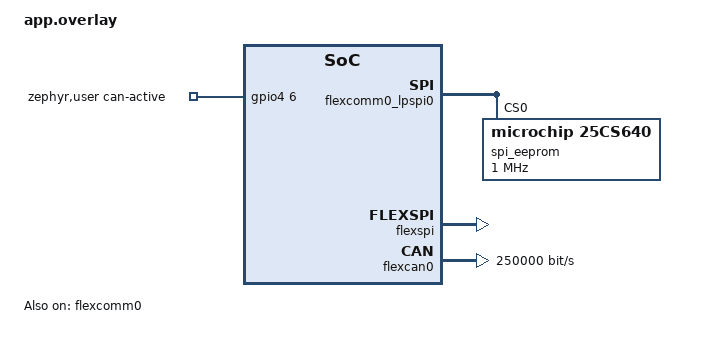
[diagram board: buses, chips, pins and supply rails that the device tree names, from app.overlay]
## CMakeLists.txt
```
cmake_minimum_required(VERSION 3.20.0)

find_package(Zephyr REQUIRED HINTS $ENV{ZEPHYR_BASE})
project(edison)

target_sources(app PRIVATE
    src/device_control.c
    src/eeprom.c
    src/main.c
    src/isotp_service.c
    src/ethernet.c
    src/pmi_update.c
    src/psram.c
    src/qspi_nor.c
    src/web_server.c
)

# The MCUX FlexSPI controller API is currently internal to Zephyr's memc
# driver. Keep this dependency local to the PSRAM module.
target_include_directories(app PRIVATE ${ZEPHYR_BASE}/drivers/memc)

zephyr_linker_sources(SECTIONS sections-rom.ld)
zephyr_linker_section(NAME http_resource_desc_edison_http_service
    KVMA RAM_REGION
    GROUP RODATA_REGION
)
```

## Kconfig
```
mainmenu "Edison application"

source "Kconfig.zephyr"

config APP_PSRAM
	bool "Edison FlexSPI Port B1 PSRAM"
	default y
	depends on MEMC
	select MEMC_MCUX_FLEXSPI
	help
	  Enable the application PSRAM driver and the underlying MCUX FlexSPI
	  memory-controller driver.
```

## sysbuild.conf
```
# Build the application together with MCUboot.
SB_CONFIG_BOOTLOADER_MCUBOOT=y
SB_CONFIG_MCUBOOT_MODE_OVERWRITE_ONLY=y
```

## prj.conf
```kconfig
CONFIG_GPIO=y
CONFIG_SPI=y
CONFIG_EEPROM=y
CONFIG_EEPROM_AT25=y

# Ethernet and IPv4
CONFIG_NETWORKING=y
CONFIG_NET_L2_ETHERNET=y
CONFIG_NET_IPV4=y
CONFIG_NET_IPV6=n
CONFIG_NET_ARP=y
CONFIG_NET_UDP=y
CONFIG_NET_TCP=y
CONFIG_NET_SOCKETS=y

# UDS diagnostics over ISO-TP on the Edison CAN0 interface.
CONFIG_CAN=y
CONFIG_CAN_SHELL=y
CONFIG_ISOTP=y
CONFIG_ISOTP_RX_BUF_COUNT=10
CONFIG_ISOTP_RX_BUF_SIZE=56
CONFIG_ISOTP_RX_SF_FF_BUF_COUNT=2

# Obtain the address, netmask, and gateway from the LAN.
CONFIG_NET_DHCPV4=y
CONFIG_NET_MGMT=y
CONFIG_NET_MGMT_EVENT=y

# UART network shell, including the `net ping` command.
CONFIG_SHELL=y
CONFIG_NET_SHELL=y
CONFIG_REBOOT=y

# FlexSPI Port B1 PSRAM and its UART shell test commands.
CONFIG_MEMC=y

# Stage network firmware uploads in PSRAM, then write MCUboot slot 1.
CONFIG_STREAM_FLASH=y
CONFIG_FLASH=y
CONFIG_FLASH_MAP=y
CONFIG_FLASH_JESD216_API=y
CONFIG_IMG_MANAGER=y
CONFIG_MCUBOOT_IMG_MANAGER=y
CONFIG_IMG_ERASE_PROGRESSIVELY=y
CONFIG_CRC=y

CONFIG_LOG=y
CONFIG_NET_LOG=y

# HTTP server with one concurrent client.
CONFIG_HTTP_PARSER=y
CONFIG_HTTP_SERVER=y
CONFIG_HTTP_SERVER_MAX_CLIENTS=1

# Required by DHCP, ICMP ping, and the board's random MAC address. This timer
# generator is suitable for connectivity testing, not cryptographic use.
CONFIG_TEST_RANDOM_GENERATOR=y
```

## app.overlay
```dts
/*
 * The Edison hardware connects its 8 MiB PSRAM to FlexSPI0 Port B1:
 * PIO2_2 is CS, PIO2_3 is CLK, and PIO2_4..7 are DATA0..3.
 */
/ {
	zephyr,user {
		can-active-gpios = <&gpio4 6 GPIO_ACTIVE_HIGH>;
	};
};

&pinctrl {
	pinmux_flexcomm0_lpspi: pinmux_flexcomm0_lpspi {
		group0 {
			pinmux = <FC0_P0_PIO0_16>,
				 <FC0_P1_PIO0_17>,
				 <FC0_P2_PIO0_18>,
				 <FC0_P3_PIO0_19>;
			input-enable;
			slew-rate = "fast";
			drive-strength = "low";
		};
	};

	pinmux_edison_flexcan0: pinmux_edison_flexcan0 {
		group0 {
			pinmux = <CAN0_TXD_PIO1_10>,
				 <CAN0_RXD_PIO1_11>;
			input-enable;
			slew-rate = "fast";
			drive-strength = "low";
		};
	};

	pinmux_flexspi_flash_psram: pinmux_flexspi_flash_psram {
		group0 {
			pinmux = <FLEXSPI0_A_SS0_b_PIO3_0>,
				 <FLEXSPI0_A_SCLK_PIO3_7>,
				 <FLEXSPI0_A_DATA0_PIO3_8>,
				 <FLEXSPI0_A_DATA1_PIO3_9>,
				 <FLEXSPI0_B_SS0_b_PIO2_2>,
				 <FLEXSPI0_B_SCLK_PIO2_3>,
				 <FLEXSPI0_B_DATA0_PIO2_4>,
				 <FLEXSPI0_B_DATA1_PIO2_5>;
			input-enable;
			slew-rate = "fast";
			drive-strength = "low";
		};

		group1 {
			pinmux = <FLEXSPI0_A_DATA2_PIO3_10>,
				 <FLEXSPI0_A_DATA3_PIO3_11>,
				 <FLEXSPI0_B_DATA2_PIO2_6>,
				 <FLEXSPI0_B_DATA3_PIO2_7>;
			input-enable;
			slew-rate = "fast";
			drive-strength = "low";
			bias-pull-up;
		};
	};
};

&flexcomm0 {
	status = "okay";
};

&flexcomm0_lpspi0 {
	status = "okay";
	pinctrl-0 = <&pinmux_flexcomm0_lpspi>;
	pinctrl-names = "default";

	spi_eeprom: eeprom@0 {
		compatible = "microchip,25cs640", "atmel,at25";
		reg = <0>;
		size = <8192>;
		pagesize = <32>;
		address-width = <16>;
		spi-max-frequency = <1000000>;
		timeout = <10>;
	};
};

&flexspi {
	status = "okay";
	pinctrl-0 = <&pinmux_flexspi_flash_psram>;
	pinctrl-names = "default";
};

&flexcan0 {
	status = "okay";
	pinctrl-0 = <&pinmux_edison_flexcan0>;
	pinctrl-names = "default";
	bitrate = <250000>;
};

/*
 * The Edison PMI uses a KSZ8081 PHY. PIO0_23 drives an inverting NMOS reset
 * circuit, so a low GPIO level releases the active-low PHYRST_B signal.
 */
&phy {
	compatible = "microchip,ksz8081";
	microchip,interface-type = "rmii";
	reset-gpios = <&gpio0 23 GPIO_ACTIVE_LOW>;
};
```

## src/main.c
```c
/*
 * SPDX-License-Identifier: Apache-2.0
 */

#include <zephyr/kernel.h>
#include <zephyr/app_version.h>
#include <zephyr/logging/log.h>
#include <zephyr/sys/printk.h>

#include "device_control.h"
#include "eeprom.h"
#include "ethernet.h"
#include "isotp_service.h"
#include "pmi_update.h"
#include "psram.h"
#include "qspi_nor.h"
#include "web_server.h"

#define SLEEP_TIME_MS 500

LOG_MODULE_REGISTER(app, LOG_LEVEL_INF);

int main(void)
{
	LOG_INF("Application version: %s", APP_VERSION_STRING);

	device_control_service_init();
	eeprom_service_init();
	psram_service_init();
	qspi_nor_service_init();
	isotp_service_init();
	pmi_update_service_init();
	ethernet_service_init();
	web_server_service_init();

	while (1) {
		k_msleep(SLEEP_TIME_MS);
	}

	return 0;
}
```

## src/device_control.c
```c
/* SPDX-License-Identifier: Apache-2.0 */

#include "device_control.h"

#include <zephyr/kernel.h>
#include <zephyr/net/http/server.h>
#include <zephyr/net/http/service.h>
#include <zephyr/shell/shell.h>
#include <zephyr/sys/reboot.h>
#include <zephyr/sys/util.h>

#define REBOOT_DELAY K_MSEC(500)

static struct k_work_delayable reboot_work;

static void reboot_work_handler(struct k_work *work)
{
	ARG_UNUSED(work);

	sys_reboot(SYS_REBOOT_COLD);
}

static void schedule_reboot(void)
{
	k_work_reschedule(&reboot_work, REBOOT_DELAY);
}

static int cmd_device_reboot(const struct shell *sh, size_t argc, char **argv)
{
	ARG_UNUSED(argc);
	ARG_UNUSED(argv);

	shell_print(sh, "Cold reboot scheduled in 500 ms");
	schedule_reboot();
	return 0;
}

SHELL_STATIC_SUBCMD_SET_CREATE(pmi_commands,
	SHELL_CMD(reboot, NULL, "Schedule a cold device reboot.",
		  cmd_device_reboot),
	SHELL_SUBCMD_SET_END
);
SHELL_CMD_REGISTER(pmi, &pmi_commands, "PMI device-control commands.", NULL);

static int reboot_post_handler(struct http_client_ctx *client,
			       enum http_data_status status,
			       const struct http_request_ctx *request,
			       struct http_response_ctx *response, void *user_data)
{
	static const char body[] =
		"{\"status\":\"ok\",\"action\":\"reboot\",\"delay_ms\":500}\n";

	ARG_UNUSED(client);
	ARG_UNUSED(request);
	ARG_UNUSED(user_data);

	if (status == HTTP_SERVER_DATA_ABORTED) {
		return 0;
	}
	if (status != HTTP_SERVER_DATA_FINAL) {
		return 0;
	}

	response->status = HTTP_200_OK;
	response->body = body;
	response->body_len = sizeof(body) - 1U;
	response->final_chunk = true;
	schedule_reboot();

	return 0;
}

static struct http_resource_detail_dynamic reboot_resource_detail = {
	.common = {
		.type = HTTP_RESOURCE_TYPE_DYNAMIC,
		.bitmask_of_supported_http_methods = BIT(HTTP_POST),
		.content_type = "application/json",
	},
	.cb = reboot_post_handler,
};

HTTP_RESOURCE_DEFINE(reboot_resource, edison_http_service, "/pmi/reboot",
		     &reboot_resource_detail);

void device_control_service_init(void)
{
	k_work_init_delayable(&reboot_work, reboot_work_handler);
}
```

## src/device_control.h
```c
/* SPDX-License-Identifier: Apache-2.0 */

#ifndef EDISON_DEVICE_CONTROL_H_
#define EDISON_DEVICE_CONTROL_H_

/** Initialize delayed device-control operations. */
void device_control_service_init(void);

#endif /* EDISON_DEVICE_CONTROL_H_ */
```

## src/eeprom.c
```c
/* SPDX-License-Identifier: Apache-2.0 */

#include "eeprom.h"

#include <errno.h>
#include <stdlib.h>
#include <string.h>

#include <zephyr/device.h>
#include <zephyr/devicetree.h>
#include <zephyr/drivers/spi.h>
#include <zephyr/kernel.h>
#include <zephyr/logging/log.h>
#include <zephyr/shell/shell.h>

LOG_MODULE_REGISTER(spi_eeprom, LOG_LEVEL_INF);

#define EEPROM_NODE DT_NODELABEL(spi_eeprom)
#define EEPROM_DEVICE DEVICE_DT_GET(EEPROM_NODE)
#define EEPROM_SIZE 8192U
#define EEPROM_PAGE_SIZE 32U
#define EEPROM_TEST_OFFSET 0x1000U
#define EEPROM_READ_ID 0x9fU
#define EEPROM_READ 0x03U
#define EEPROM_WRITE 0x02U
#define EEPROM_WRITE_ENABLE 0x06U
#define EEPROM_READ_STATUS 0x05U
#define EEPROM_STATUS_WIP BIT(0)
#define EEPROM_WRITE_TIMEOUT_MS 10U

static const struct spi_dt_spec eeprom_spi =
	SPI_DT_SPEC_GET(EEPROM_NODE, SPI_WORD_SET(8));
static uint8_t eeprom_id[3];
static bool eeprom_ready;

/*
 * Always provide an RX buffer, including for commands that only transmit.
 * The interrupt-driven NXP LPSPI driver stops draining its RX FIFO for a
 * TX-only transfer. A page write is longer than that FIFO and otherwise
 * stalls with -ETIMEDOUT.
 */
static int eeprom_transceive(uint8_t *tx, uint8_t *rx, size_t length)
{
	const struct spi_buf tx_buf = {.buf = tx, .len = length};
	const struct spi_buf rx_buf = {.buf = rx, .len = length};
	const struct spi_buf_set tx_set = {.buffers = &tx_buf, .count = 1};
	const struct spi_buf_set rx_set = {.buffers = &rx_buf, .count = 1};

	return spi_transceive_dt(&eeprom_spi, &tx_set, &rx_set);
}

static int parse_u32(const char *text, uint32_t *value)
{
	char *end;
	unsigned long parsed = strtoul(text, &end, 0);

	if (*text == '\0' || *end != '\0' || parsed > UINT32_MAX) {
		return -EINVAL;
	}
	*value = (uint32_t)parsed;
	return 0;
}

static int read_id(void)
{
	uint8_t tx[4] = {EEPROM_READ_ID, 0, 0, 0};
	uint8_t rx[4] = {0};
	int ret = eeprom_transceive(tx, rx, sizeof(tx));

	if (ret == 0) {
		memcpy(eeprom_id, &rx[1], sizeof(eeprom_id));
	}
	return ret;
}

static int read_status(uint8_t *status)
{
	uint8_t tx[2] = {EEPROM_READ_STATUS, 0};
	uint8_t rx[2] = {0};
	int ret = eeprom_transceive(tx, rx, sizeof(tx));

	if (ret == 0) {
		*status = rx[1];
	}
	return ret;
}

static int wait_until_ready(void)
{
	int64_t deadline = k_uptime_get() + EEPROM_WRITE_TIMEOUT_MS;
	uint8_t status;
	int ret;

	do {
		ret = read_status(&status);
		if (ret != 0 || (status & EEPROM_STATUS_WIP) == 0U) {
			return ret;
		}
		k_msleep(1);
	} while (k_uptime_get() < deadline);

	return -ETIMEDOUT;
}

static int read_data(uint32_t offset, uint8_t *data, size_t length)
{
	uint8_t tx[EEPROM_PAGE_SIZE + 3] = {
		EEPROM_READ, (uint8_t)(offset >> 8), (uint8_t)offset
	};
	uint8_t rx[sizeof(tx)] = {0};
	int ret = eeprom_transceive(tx, rx, length + 3U);

	if (ret == 0) {
		memcpy(data, &rx[3], length);
	}
	return ret;
}

static int write_page(uint32_t offset, const uint8_t *data, size_t length)
{
	uint8_t enable_tx[1] = {EEPROM_WRITE_ENABLE};
	uint8_t enable_rx[1] = {0};
	uint8_t tx[EEPROM_PAGE_SIZE + 3] = {
		EEPROM_WRITE, (uint8_t)(offset >> 8), (uint8_t)offset
	};
	uint8_t rx[sizeof(tx)] = {0};
	int ret;

	ret = eeprom_transceive(enable_tx, enable_rx, sizeof(enable_tx));
	if (ret != 0) {
		return ret;
	}

	memcpy(&tx[3], data, length);
	ret = eeprom_transceive(tx, rx, length + 3U);
	if (ret != 0) {
		return ret;
	}

	return wait_until_ready();
}

static int cmd_eeprom_info(const struct shell *sh, size_t argc, char **argv)
{
	ARG_UNUSED(argc);
	ARG_UNUSED(argv);

	shell_print(sh, "SPI EEPROM: %s", eeprom_ready ? "ready" : "not ready");
	shell_print(sh, "Size: %u bytes, page: %u bytes, bus: LPSPI0 at 1 MHz",
		    EEPROM_SIZE, EEPROM_PAGE_SIZE);
	shell_print(sh, "ID: %02x %02x %02x", eeprom_id[0], eeprom_id[1],
		    eeprom_id[2]);
	return eeprom_ready ? 0 : -ENODEV;
}

static int cmd_eeprom_read(const struct shell *sh, size_t argc, char **argv)
{
	uint8_t buffer[EEPROM_PAGE_SIZE];
	uint32_t offset;
	uint32_t length = EEPROM_PAGE_SIZE;
	int ret;

	if (!eeprom_ready) {
		return -ENODEV;
	}
	if (parse_u32(argv[1], &offset) != 0 ||
	    (argc > 2 && parse_u32(argv[2], &length) != 0) ||
	    length == 0U || length > sizeof(buffer) || offset >= EEPROM_SIZE ||
	    length > EEPROM_SIZE - offset) {
		shell_error(sh, "range must fit in EEPROM; maximum length is 32");
		return -EINVAL;
	}

	ret = read_data(offset, buffer, length);
	if (ret == 0) {
		shell_hexdump(sh, buffer, length);
	}
	return ret;
}

static int cmd_eeprom_test(const struct shell *sh, size_t argc, char **argv)
{
	uint8_t write_buffer[EEPROM_PAGE_SIZE];
	uint8_t read_buffer[EEPROM_PAGE_SIZE];
	uint32_t pattern = 0xa5U;
	uint32_t offset = EEPROM_TEST_OFFSET;
	int ret;

	if (!eeprom_ready) {
		return -ENODEV;
	}
	if ((argc > 1 && parse_u32(argv[1], &pattern) != 0) || pattern > UINT8_MAX ||
	    (argc > 2 && parse_u32(argv[2], &offset) != 0) ||
	    offset % EEPROM_PAGE_SIZE != 0U || offset > EEPROM_SIZE - EEPROM_PAGE_SIZE) {
		shell_error(sh, "offset must be a 32-byte page within the 8 KiB EEPROM");
		return -EINVAL;
	}

	shell_warn(sh, "destructive test: overwriting page at 0x%04x", offset);
	memset(write_buffer, (uint8_t)pattern, sizeof(write_buffer));
	memset(read_buffer, 0, sizeof(read_buffer));
	ret = write_page(offset, write_buffer, sizeof(write_buffer));
	if (ret == 0) {
		ret = read_data(offset, read_buffer, sizeof(read_buffer));
	}
	if (ret == 0 && memcmp(write_buffer, read_buffer, sizeof(write_buffer)) != 0) {
		ret = -EIO;
	}

	if (ret == 0) {
		shell_print(sh, "PASS: verified 32 bytes at 0x%04x", offset);
	} else {
		shell_error(sh, "FAIL: EEPROM test returned %d", ret);
	}
	return ret;
}

SHELL_STATIC_SUBCMD_SET_CREATE(eeprom_commands,
	SHELL_CMD(info, NULL, "Show SPI EEPROM state and ID.", cmd_eeprom_info),
	SHELL_CMD_ARG(read, NULL, "Read <offset> [length=32], maximum 32 bytes.",
		      cmd_eeprom_read, 2, 1),
	SHELL_CMD_ARG(test, NULL, "Destructive test [pattern=0xa5] [page=0x1000].",
		      cmd_eeprom_test, 1, 2),
	SHELL_SUBCMD_SET_END
);
SHELL_CMD_REGISTER(eeprom, &eeprom_commands, "SPI EEPROM commands.", NULL);

void eeprom_service_init(void)
{
	int ret;

	if (!device_is_ready(EEPROM_DEVICE) || !spi_is_ready_dt(&eeprom_spi)) {
		LOG_ERR("SPI EEPROM is not ready");
		return;
	}

	ret = read_id();
	if (ret != 0) {
		LOG_ERR("Could not read SPI EEPROM ID (%d)", ret);
		return;
	}

	eeprom_ready = true;
	LOG_INF("SPI EEPROM ready: 8 KiB on LPSPI0, ID %02x %02x %02x",
		eeprom_id[0], eeprom_id[1], eeprom_id[2]);
}
```

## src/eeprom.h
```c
/* SPDX-License-Identifier: Apache-2.0 */

#ifndef EDISON_EEPROM_H_
#define EDISON_EEPROM_H_

/** Initialize the external SPI EEPROM service. */
void eeprom_service_init(void);

#endif /* EDISON_EEPROM_H_ */
```

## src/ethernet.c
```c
/*
 * SPDX-License-Identifier: Apache-2.0
 */

#include "ethernet.h"

#include <zephyr/kernel.h>
#include <zephyr/net/net_if.h>
#include <zephyr/net/dhcpv4.h>
#include <zephyr/net/net_ip.h>
#include <zephyr/net/net_mgmt.h>
#include <zephyr/sys/printk.h>

static struct net_mgmt_event_callback net_mgmt_cb;

static void ipv4_addr_added(struct net_mgmt_event_callback *cb,
			    uint64_t event, struct net_if *iface)
{
	char address[NET_IPV4_ADDR_LEN];
	char netmask[NET_IPV4_ADDR_LEN];
	char gateway[NET_IPV4_ADDR_LEN];
	const struct net_if_ipv4 *ipv4 = iface->config.ip.ipv4;

	ARG_UNUSED(cb);

	if (event != NET_EVENT_IPV4_ADDR_ADD || ipv4 == NULL) {
		return;
	}

	for (int i = 0; i < NET_IF_MAX_IPV4_ADDR; i++) {
		const struct net_if_addr_ipv4 *if_addr = &ipv4->unicast[i];

		if (!if_addr->ipv4.is_used ||
		    if_addr->ipv4.addr_type != NET_ADDR_DHCP) {
			continue;
		}

		net_addr_ntop(AF_INET, &if_addr->ipv4.address.in_addr,
			      address, sizeof(address));
		net_addr_ntop(AF_INET, &if_addr->netmask,
			      netmask, sizeof(netmask));
		net_addr_ntop(AF_INET, &ipv4->gw, gateway, sizeof(gateway));

		printk("Ethernet ready: interface %d\n", net_if_get_by_iface(iface));
		printk("  IPv4 address: %s\n", address);
		printk("  Netmask:      %s\n", netmask);
		printk("  Gateway:      %s\n", gateway);
		printk("Test with: net ping -c 4 %s\n", gateway);
		return;
	}
}

static void start_dhcp(struct net_if *iface, void *user_data)
{
	ARG_UNUSED(user_data);

	printk("Starting DHCPv4 on interface %d (%s)\n",
	       net_if_get_by_iface(iface), net_if_get_device(iface)->name);
	net_dhcpv4_start(iface);
}

void ethernet_service_init(void)
{
	net_mgmt_init_event_callback(&net_mgmt_cb, ipv4_addr_added,
				     NET_EVENT_IPV4_ADDR_ADD);
	net_mgmt_add_event_callback(&net_mgmt_cb);
	net_if_foreach(start_dhcp, NULL);
}
```

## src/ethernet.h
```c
/*
 * SPDX-License-Identifier: Apache-2.0
 */

#ifndef EDISON_ETHERNET_H_
#define EDISON_ETHERNET_H_

/** Start DHCPv4 and register Ethernet network event handling. */
void ethernet_service_init(void);

#endif /* EDISON_ETHERNET_H_ */
```

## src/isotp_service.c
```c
/* SPDX-License-Identifier: Apache-2.0 */

#include "isotp_service.h"

#include <ctype.h>
#include <errno.h>
#include <inttypes.h>
#include <stdio.h>
#include <stdlib.h>
#include <string.h>

#include <zephyr/canbus/isotp.h>
#include <zephyr/device.h>
#include <zephyr/devicetree.h>
#include <zephyr/drivers/can.h>
#include <zephyr/drivers/gpio.h>
#include <zephyr/kernel.h>
#include <zephyr/logging/log.h>
#include <zephyr/net/http/server.h>
#include <zephyr/net/http/service.h>
#include <zephyr/shell/shell.h>
#include <zephyr/sys/util.h>

LOG_MODULE_REGISTER(isotp_service, LOG_LEVEL_INF);

#define ISOTP_DATA_MAX 512U
#define ISOTP_HTTP_BODY_MAX 1800U
#define ISOTP_HTTP_RESPONSE_MAX 3200U
#define ISOTP_DEFAULT_TIMEOUT_MS 5000U

static const struct device *const can_dev = DEVICE_DT_GET(DT_CHOSEN(zephyr_canbus));
static const struct gpio_dt_spec can_active =
	GPIO_DT_SPEC_GET(DT_PATH(zephyr_user), can_active_gpios);
static bool service_ready;
K_MUTEX_DEFINE(transaction_lock);
K_SEM_DEFINE(raw_rx_sem, 0, 1);
static uint8_t raw_rx_data[CAN_MAX_DLEN];
static size_t raw_rx_len;

static int parse_u32(const char *text, uint32_t *value)
{
	char *end;
	unsigned long parsed = strtoul(text, &end, 0);

	if (*text == '\0' || *end != '\0' || parsed > UINT32_MAX) {
		return -EINVAL;
	}
	*value = (uint32_t)parsed;
	return 0;
}

static int hex_nibble(char value)
{
	if (value >= '0' && value <= '9') {
		return value - '0';
	}
	value = (char)tolower((unsigned char)value);
	if (value >= 'a' && value <= 'f') {
		return value - 'a' + 10;
	}
	return -EINVAL;
}

static int parse_payload(const char *text, uint8_t *data, size_t capacity,
			 size_t *data_len)
{
	int high = -1;
	size_t length = 0;

	for (; *text != '\0'; text++) {
		int nibble;

		if (isspace((unsigned char)*text) || *text == ':' || *text == '-') {
			continue;
		}
		nibble = hex_nibble(*text);
		if (nibble < 0) {
			return -EINVAL;
		}
		if (high < 0) {
			high = nibble;
			continue;
		}
		if (length >= capacity) {
			return -E2BIG;
		}
		data[length++] = (uint8_t)((high << 4) | nibble);
		high = -1;
	}

	if (high >= 0 || length == 0U) {
		return -EINVAL;
	}
	*data_len = length;
	return 0;
}

static void strip_single_frame_pci(uint8_t *data, size_t *length)
{
	if (*length > 1U && (data[0] & 0xf0U) == 0U &&
	    (data[0] & 0x0fU) == *length - 1U) {
		*length -= 1U;
		memmove(data, data + 1U, *length);
	}
}

static struct isotp_msg_id make_address(uint32_t id)
{
	struct isotp_msg_id address = {.dl = CAN_MAX_DLEN};

	if (id > CAN_STD_ID_MASK) {
		address.ext_id = id;
		address.flags = ISOTP_MSG_IDE;
	} else {
		address.std_id = id;
	}
	return address;
}

static void raw_rx_callback(const struct device *dev, struct can_frame *frame,
			    void *user_data)
{
	ARG_UNUSED(dev);
	ARG_UNUSED(user_data);

	raw_rx_len = MIN(can_dlc_to_bytes(frame->dlc), sizeof(raw_rx_data));
	memcpy(raw_rx_data, frame->data, raw_rx_len);
	k_sem_give(&raw_rx_sem);
}

static int raw_can_loop(uint32_t can_id, const uint8_t *tx_data,
			uint8_t *rx_data, uint32_t timeout_ms)
{
	struct can_filter filter = {
		.id = can_id,
		.mask = can_id > CAN_STD_ID_MASK ? CAN_EXT_ID_MASK : CAN_STD_ID_MASK,
	};
	struct can_frame frame = {
		.id = can_id,
		.dlc = can_bytes_to_dlc(8U),
	};
	int filter_id;
	int ret;

	if (!service_ready) {
		return -ENODEV;
	}
	if (can_id > CAN_EXT_ID_MASK || timeout_ms == 0U) {
		return -EINVAL;
	}
	if (can_id > CAN_STD_ID_MASK) {
		filter.flags = CAN_FILTER_IDE;
		frame.flags = CAN_FRAME_IDE;
	}
	memcpy(frame.data, tx_data, 8U);

	k_mutex_lock(&transaction_lock, K_FOREVER);
	raw_rx_len = 0;
	k_sem_reset(&raw_rx_sem);
	filter_id = can_add_rx_filter(can_dev, raw_rx_callback, NULL, &filter);
	if (filter_id < 0) {
		ret = filter_id;
		goto out;
	}

	ret = can_send(can_dev, &frame, K_MSEC(timeout_ms), NULL, NULL);
	if (ret == 0) {
		ret = k_sem_take(&raw_rx_sem, K_MSEC(timeout_ms));
	}
	can_remove_rx_filter(can_dev, filter_id);
	if (ret == 0) {
		memcpy(rx_data, raw_rx_data, raw_rx_len);
		if (raw_rx_len != 8U || memcmp(tx_data, raw_rx_data, 8U) != 0) {
			ret = -EIO;
		}
	}

out:
	k_mutex_unlock(&transaction_lock);
	return ret;
}

static int isotp_request(uint32_t tx_id, uint32_t rx_id,
			 const uint8_t *request, size_t request_len,
			 uint8_t *response, size_t response_size,
			 uint32_t timeout_ms)
{
	static struct isotp_recv_ctx recv_ctx;
	static struct isotp_send_ctx send_ctx;
	const struct isotp_fc_opts fc_opts = {.bs = 0, .stmin = 0};
	struct isotp_msg_id tx_addr;
	struct isotp_msg_id rx_addr;
	int ret;

	if (!service_ready) {
		return -ENODEV;
	}
	if (tx_id > CAN_EXT_ID_MASK || rx_id > CAN_EXT_ID_MASK || tx_id == rx_id ||
	    request_len == 0U || request_len > ISOTP_DATA_MAX) {
		return -EINVAL;
	}

	tx_addr = make_address(tx_id);
	rx_addr = make_address(rx_id);

	k_mutex_lock(&transaction_lock, K_FOREVER);
	memset(&recv_ctx, 0, sizeof(recv_ctx));
	memset(&send_ctx, 0, sizeof(send_ctx));
	ret = isotp_bind(&recv_ctx, can_dev, &rx_addr, &tx_addr, &fc_opts,
			 K_MSEC(timeout_ms));
	if (ret == ISOTP_N_OK) {
		ret = isotp_send(&send_ctx, can_dev, request, request_len,
				 &tx_addr, &rx_addr, NULL, NULL);
		if (ret == ISOTP_N_OK) {
			ret = isotp_recv(&recv_ctx, response, response_size,
					 K_MSEC(timeout_ms));
		}
		isotp_unbind(&recv_ctx);
	}
	k_mutex_unlock(&transaction_lock);

	return ret;
}

static void print_hex(const struct shell *sh, const char *label,
		      const uint8_t *data, size_t length)
{
	shell_fprintf(sh, SHELL_NORMAL, "%s", label);
	for (size_t i = 0; i < length; i++) {
		shell_fprintf(sh, SHELL_NORMAL, "%02X%s", data[i],
			      i + 1U == length ? "\n" : " ");
	}
}

static int cmd_isotp_info(const struct shell *sh, size_t argc, char **argv)
{
	ARG_UNUSED(argc);
	ARG_UNUSED(argv);

	shell_print(sh, "ISO-TP: %s", service_ready ? "ready" : "not ready");
	shell_print(sh, "CAN0: PIO1_10 TX, PIO1_11 RX, 250 kbit/s");
	return service_ready ? 0 : -ENODEV;
}

static int cmd_isotp_test(const struct shell *sh, size_t argc, char **argv)
{
	static uint8_t request[ISOTP_DATA_MAX];
	static uint8_t response[ISOTP_DATA_MAX];
	uint32_t tx_id;
	uint32_t rx_id;
	uint32_t timeout_ms = ISOTP_DEFAULT_TIMEOUT_MS;
	size_t request_len;
	int ret;

	if (parse_u32(argv[1], &tx_id) != 0 || parse_u32(argv[2], &rx_id) != 0 ||
	    parse_payload(argv[3], request, sizeof(request), &request_len) != 0 ||
	    (argc > 4 && parse_u32(argv[4], &timeout_ms) != 0) || timeout_ms == 0U) {
		shell_error(sh, "invalid CAN ID, hex payload, or timeout");
		return -EINVAL;
	}
	strip_single_frame_pci(request, &request_len);

	print_hex(sh, "TX: ", request, request_len);
	ret = isotp_request(tx_id, rx_id, request, request_len, response,
			    sizeof(response), timeout_ms);
	if (ret < 0) {
		shell_error(sh, "ISO-TP request failed (%d)", ret);
		return ret;
	}
	print_hex(sh, "RX: ", response, (size_t)ret);
	shell_print(sh, "PASS: received %d-byte UDS response", ret);
	return 0;
}

static int cmd_can_loop_test(const struct shell *sh, size_t argc, char **argv)
{
	uint8_t tx_data[8];
	uint8_t rx_data[8];
	uint32_t can_id;
	uint32_t timeout_ms = ISOTP_DEFAULT_TIMEOUT_MS;
	size_t tx_len;
	int ret;

	if (parse_u32(argv[1], &can_id) != 0 ||
	    parse_payload(argv[2], tx_data, sizeof(tx_data), &tx_len) != 0 ||
	    tx_len != sizeof(tx_data) ||
	    (argc > 3 && parse_u32(argv[3], &timeout_ms) != 0) || timeout_ms == 0U) {
		shell_error(sh, "provide a CAN ID and exactly 8 data bytes");
		return -EINVAL;
	}

	print_hex(sh, "TX: ", tx_data, sizeof(tx_data));
	ret = raw_can_loop(can_id, tx_data, rx_data, timeout_ms);
	if (ret != 0) {
		shell_error(sh, "raw CAN loop test failed (%d)", ret);
		return ret;
	}
	print_hex(sh, "RX: ", rx_data, sizeof(rx_data));
	shell_print(sh, "PASS: raw CAN frame matched");
	return 0;
}

SHELL_STATIC_SUBCMD_SET_CREATE(isotp_commands,
	SHELL_CMD(info, NULL, "Show ISO-TP and CAN state.", cmd_isotp_info),
	SHELL_CMD_ARG(test, NULL,
		      "Send <tx_id> <rx_id> <hex_payload> [timeout_ms=5000].",
		      cmd_isotp_test, 4, 1),
	SHELL_SUBCMD_SET_END
);
SHELL_CMD_REGISTER(isotp, &isotp_commands, "ISO-TP UDS test commands.", NULL);

SHELL_STATIC_SUBCMD_SET_CREATE(canloop_commands,
	SHELL_CMD_ARG(test, NULL,
		      "Send and verify <can_id> <8-byte_hex_payload> [timeout_ms=5000].",
		      cmd_can_loop_test, 3, 1),
	SHELL_SUBCMD_SET_END
);
SHELL_CMD_REGISTER(canloop, &canloop_commands, "Raw CAN loop test commands.", NULL);

static int url_decode(char *text)
{
	char *read = text;
	char *write = text;

	while (*read != '\0') {
		if (*read == '+') {
			*write++ = ' ';
			read++;
		} else if (*read == '%' && isxdigit((unsigned char)read[1]) &&
			   isxdigit((unsigned char)read[2])) {
			int high = hex_nibble(read[1]);
			int low = hex_nibble(read[2]);

			*write++ = (char)((high << 4) | low);
			read += 3;
		} else {
			*write++ = *read++;
		}
	}
	*write = '\0';
	return 0;
}

static int form_value(const char *body, const char *name, char *value,
		      size_t value_size)
{
	size_t name_len = strlen(name);
	const char *field = body;

	while (*field != '\0') {
		const char *next = strchr(field, '&');
		size_t field_len = next == NULL ? strlen(field) : (size_t)(next - field);

		if (field_len > name_len && strncmp(field, name, name_len) == 0 &&
		    field[name_len] == '=') {
			size_t length = field_len - name_len - 1U;

			if (length >= value_size) {
				return -ENOSPC;
			}
			memcpy(value, field + name_len + 1U, length);
			value[length] = '\0';
			url_decode(value);
			return 0;
		}
		if (next == NULL) {
			break;
		}
		field = next + 1U;
	}
	return -ENOENT;
}

static int json_response(char *buffer, size_t capacity, enum http_status *status,
			 uint32_t tx_id, uint32_t rx_id, const uint8_t *tx,
			 size_t tx_len, const uint8_t *rx, int rx_len)
{
	size_t offset = 0;
	int length;

	length = snprintf(buffer, capacity,
			  "{\"status\":\"%s\",\"tx_id\":\"0x%" PRIX32
			  "\",\"rx_id\":\"0x%" PRIX32 "\",\"tx\":\"",
			  rx_len >= 0 ? "pass" : "fail", tx_id, rx_id);
	if (length < 0 || (size_t)length >= capacity) {
		return -ENOSPC;
	}
	offset = (size_t)length;
	for (size_t i = 0; i < tx_len && offset + 3U < capacity; i++) {
		offset += (size_t)snprintf(buffer + offset, capacity - offset,
					   "%02X%s", tx[i], i + 1U == tx_len ? "" : " ");
	}
	offset += (size_t)snprintf(buffer + offset, capacity - offset, "\",\"rx\":\"");
	if (rx_len >= 0) {
		for (int i = 0; i < rx_len && offset + 3U < capacity; i++) {
			offset += (size_t)snprintf(buffer + offset, capacity - offset,
						   "%02X%s", rx[i], i + 1 == rx_len ? "" : " ");
		}
		*status = HTTP_200_OK;
	} else {
		*status = rx_len == -EINVAL ? HTTP_400_BAD_REQUEST : HTTP_504_GATEWAY_TIMEOUT;
	}
	length = snprintf(buffer + offset, capacity - offset,
			  "\",\"result\":%d}\n", rx_len);
	if (length < 0 || (size_t)length >= capacity - offset) {
		return -ENOSPC;
	}
	return (int)(offset + (size_t)length);
}

static int raw_json_response(char *buffer, size_t capacity,
			     enum http_status *status, uint32_t can_id,
			     const uint8_t *tx, const uint8_t *rx, int result)
{
	int length;

	length = snprintf(buffer, capacity,
			  "{\"status\":\"%s\",\"can_id\":\"0x%" PRIX32
			  "\",\"tx\":\"%02X %02X %02X %02X %02X %02X %02X %02X\","
			  "\"rx\":\"%02X %02X %02X %02X %02X %02X %02X %02X\","
			  "\"result\":%d}\n",
			  result == 0 ? "pass" : "fail", can_id,
			  tx[0], tx[1], tx[2], tx[3], tx[4], tx[5], tx[6], tx[7],
			  rx[0], rx[1], rx[2], rx[3], rx[4], rx[5], rx[6], rx[7],
			  result);
	if (length < 0 || (size_t)length >= capacity) {
		return -ENOSPC;
	}
	*status = result == 0 ? HTTP_200_OK :
		  (result == -EINVAL ? HTTP_400_BAD_REQUEST :
		   (result == -EIO ? HTTP_409_CONFLICT : HTTP_504_GATEWAY_TIMEOUT));
	return length;
}

static int isotp_post_handler(struct http_client_ctx *client,
			      enum http_data_status data_status,
			      const struct http_request_ctx *request,
			      struct http_response_ctx *response, void *user_data)
{
	static char body[ISOTP_HTTP_BODY_MAX + 1U];
	static size_t body_len;
	static char response_body[ISOTP_HTTP_RESPONSE_MAX];
	static uint8_t tx_data[ISOTP_DATA_MAX];
	static uint8_t rx_data[ISOTP_DATA_MAX];
	static char payload_text[ISOTP_DATA_MAX * 3U + 1U];
	uint32_t tx_id = 0;
	uint32_t rx_id = 0;
	char tx_id_text[16];
	char rx_id_text[16];
	char mode[8];
	size_t tx_len = 0;
	int result = -EINVAL;
	int response_len;

	ARG_UNUSED(client);
	ARG_UNUSED(user_data);

	if (data_status == HTTP_SERVER_DATA_ABORTED) {
		body_len = 0;
		return 0;
	}
	if (request->data_len > ISOTP_HTTP_BODY_MAX - body_len) {
		body_len = 0;
		response->status = HTTP_413_PAYLOAD_TOO_LARGE;
		response->final_chunk = true;
		return 0;
	}
	memcpy(body + body_len, request->data, request->data_len);
	body_len += request->data_len;
	if (data_status != HTTP_SERVER_DATA_FINAL) {
		return 0;
	}
	body[body_len] = '\0';
	body_len = 0;

	memset(tx_data, 0, sizeof(tx_data));
	memset(rx_data, 0, sizeof(rx_data));
	if (form_value(body, "CAN_loop_test", mode, sizeof(mode)) == 0 &&
	    strcmp(mode, "on") == 0 &&
	    form_value(body, "CAND_ID", tx_id_text, sizeof(tx_id_text)) == 0 &&
	    form_value(body, "TX", payload_text, sizeof(payload_text)) == 0 &&
	    parse_u32(tx_id_text, &tx_id) == 0 &&
	    parse_payload(payload_text, tx_data, 8U, &tx_len) == 0 && tx_len == 8U) {
		result = raw_can_loop(tx_id, tx_data, rx_data, ISOTP_DEFAULT_TIMEOUT_MS);
		response_len = raw_json_response(response_body, sizeof(response_body),
					     &response->status, tx_id, tx_data,
					     rx_data, result);
	} else if (form_value(body, "CAN_TX_ID", tx_id_text, sizeof(tx_id_text)) == 0 &&
	    form_value(body, "CAN_RX_ID", rx_id_text, sizeof(rx_id_text)) == 0 &&
	    form_value(body, "TX", payload_text, sizeof(payload_text)) == 0 &&
	    parse_u32(tx_id_text, &tx_id) == 0 && parse_u32(rx_id_text, &rx_id) == 0 &&
	    parse_payload(payload_text, tx_data, sizeof(tx_data), &tx_len) == 0) {
		strip_single_frame_pci(tx_data, &tx_len);
		result = isotp_request(tx_id, rx_id, tx_data, tx_len, rx_data,
				       sizeof(rx_data), ISOTP_DEFAULT_TIMEOUT_MS);
		response_len = json_response(response_body, sizeof(response_body),
					     &response->status, tx_id, rx_id,
					     tx_data, tx_len, rx_data, result);
	} else {
		response_len = json_response(response_body, sizeof(response_body),
					     &response->status, tx_id, rx_id,
					     tx_data, tx_len, rx_data, result);
	}
	if (response_len < 0) {
		return response_len;
	}
	response->body = response_body;
	response->body_len = (size_t)response_len;
	response->final_chunk = true;
	return 0;
}

static struct http_resource_detail_dynamic isotp_resource_detail = {
	.common = {
		.type = HTTP_RESOURCE_TYPE_DYNAMIC,
		.bitmask_of_supported_http_methods = BIT(HTTP_POST),
		.content_type = "application/json",
	},
	.cb = isotp_post_handler,
};

HTTP_RESOURCE_DEFINE(isotp_resource, edison_http_service, "/pmi/test",
		     &isotp_resource_detail);

int isotp_service_init(void)
{
	int ret;

	if (!device_is_ready(can_dev)) {
		LOG_ERR("CAN0 device is not ready");
		return -ENODEV;
	}
	if (!gpio_is_ready_dt(&can_active)) {
		LOG_ERR("CAN transceiver control GPIO is not ready");
		return -ENODEV;
	}
	ret = gpio_pin_configure_dt(&can_active, GPIO_OUTPUT_ACTIVE);
	if (ret != 0) {
		LOG_ERR("Could not enable CAN transceiver (%d)", ret);
		return ret;
	}
	ret = can_start(can_dev);
	if (ret != 0 && ret != -EALREADY) {
		LOG_ERR("Could not start CAN0 (%d)", ret);
		return ret;
	}

	service_ready = true;
	LOG_INF("ISO-TP ready on CAN0 at 250 kbit/s");
	return 0;
}
```

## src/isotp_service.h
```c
/* SPDX-License-Identifier: Apache-2.0 */

#ifndef EDISON_ISOTP_SERVICE_H_
#define EDISON_ISOTP_SERVICE_H_

/** Initialize CAN0 for ISO-TP diagnostic requests. */
int isotp_service_init(void);

#endif /* EDISON_ISOTP_SERVICE_H_ */
```

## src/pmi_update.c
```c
/* SPDX-License-Identifier: Apache-2.0 */

#include "pmi_update.h"

#include <errno.h>
#include <inttypes.h>
#include <stdio.h>
#include <string.h>

#include <zephyr/dfu/flash_img.h>
#include <zephyr/dfu/mcuboot.h>
#include <zephyr/kernel.h>
#include <zephyr/logging/log.h>
#include <zephyr/net/http/server.h>
#include <zephyr/net/http/service.h>
#include <zephyr/storage/flash_map.h>
#include <zephyr/sys/crc.h>
#include <zephyr/sys/util.h>

#include "psram.h"

LOG_MODULE_REGISTER(pmi_update, LOG_LEVEL_INF);

#define PMI_IMAGE_OFFSET 0U
#define PMI_SLOT_ID FIXED_PARTITION_ID(slot1_partition)
#define PMI_SLOT_SIZE FIXED_PARTITION_SIZE(slot1_partition)
#define PMI_MAX_IMAGE_SIZE (PMI_SLOT_SIZE - (8U * 1024U))
#define PMI_TRANSFER_CHUNK 1024U
#define PMI_IMAGE_MAGIC 0x96f3b83dU
#define PMI_ACTION_MAX_SIZE 32U

enum pmi_operation_state {
	PMI_STATE_IDLE,
	PMI_STATE_UPLOADING,
	PMI_STATE_READY,
	PMI_STATE_QUEUED,
	PMI_STATE_UPDATING,
	PMI_STATE_ERROR,
};

struct pmi_image_header {
	uint32_t magic;
	uint32_t load_address;
	uint16_t header_size;
	uint16_t protected_tlv_size;
	uint32_t image_size;
	uint32_t flags;
	uint8_t version[8];
	uint32_t pad;
} __packed;

struct pmi_update_status {
	enum pmi_operation_state upload_state;
	enum pmi_operation_state update_state;
	size_t image_size;
	size_t written;
	uint32_t upload_crc;
	uint32_t percent;
	char error[40];
};

static struct pmi_update_status update_status;
static struct k_mutex update_lock;
static struct k_sem update_request;
static uint8_t transfer_buffer[PMI_TRANSFER_CHUNK];
static char action_buffer[PMI_ACTION_MAX_SIZE + 1U];
static size_t action_length;
static char image_response[256];
static char update_response[256];

static const char *state_name(enum pmi_operation_state state)
{
	switch (state) {
	case PMI_STATE_UPLOADING:
		return "uploading";
	case PMI_STATE_READY:
		return "ready";
	case PMI_STATE_QUEUED:
		return "queued";
	case PMI_STATE_UPDATING:
		return "updating";
	case PMI_STATE_ERROR:
		return "error";
	case PMI_STATE_IDLE:
	default:
		return "idle";
	}
}

static bool update_is_busy(void)
{
	return update_status.update_state == PMI_STATE_QUEUED ||
	       update_status.update_state == PMI_STATE_UPDATING;
}

static void set_error(const char *message)
{
	update_status.update_state = PMI_STATE_ERROR;
	strncpy(update_status.error, message, sizeof(update_status.error) - 1U);
	update_status.error[sizeof(update_status.error) - 1U] = '\0';
}

static int verify_staged_image(void)
{
	struct pmi_image_header header;
	uint32_t crc = 0U;
	size_t offset = 0U;
	int ret;

	if (update_status.image_size < sizeof(header)) {
		return -EINVAL;
	}

	ret = psram_read(PMI_IMAGE_OFFSET, &header, sizeof(header));
	if (ret != 0) {
		return ret;
	}
	if (header.magic != PMI_IMAGE_MAGIC || header.header_size < sizeof(header) ||
	    (size_t)header.header_size + header.image_size > update_status.image_size) {
		return -EBADMSG;
	}

	while (offset < update_status.image_size) {
		size_t chunk = MIN((size_t)PMI_TRANSFER_CHUNK,
				   update_status.image_size - offset);

		ret = psram_read(PMI_IMAGE_OFFSET + offset, transfer_buffer, chunk);
		if (ret != 0) {
			return ret;
		}
		crc = crc32_ieee_update(crc, transfer_buffer, chunk);
		offset += chunk;
	}

	return crc == update_status.upload_crc ? 0 : -EILSEQ;
}

static int verify_slot_crc(size_t image_size, uint32_t expected_crc)
{
	const struct flash_area *area;
	uint32_t crc = 0U;
	size_t offset = 0U;
	int ret = flash_area_open(PMI_SLOT_ID, &area);

	if (ret != 0) {
		return ret;
	}

	while (offset < image_size) {
		size_t chunk = MIN((size_t)PMI_TRANSFER_CHUNK, image_size - offset);

		ret = flash_area_read(area, offset, transfer_buffer, chunk);
		if (ret != 0) {
			break;
		}
		crc = crc32_ieee_update(crc, transfer_buffer, chunk);
		offset += chunk;
	}
	flash_area_close(area);

	if (ret == 0 && crc != expected_crc) {
		ret = -EILSEQ;
	}
	return ret;
}

static void perform_update(void)
{
	struct flash_img_context context;
	size_t image_size;
	uint32_t expected_crc;
	size_t offset = 0U;
	int ret;

	k_mutex_lock(&update_lock, K_FOREVER);
	update_status.update_state = PMI_STATE_UPDATING;
	update_status.written = 0U;
	update_status.percent = 0U;
	update_status.error[0] = '\0';
	image_size = update_status.image_size;
	expected_crc = update_status.upload_crc;
	k_mutex_unlock(&update_lock);

	ret = verify_staged_image();
	if (ret != 0) {
		k_mutex_lock(&update_lock, K_FOREVER);
		set_error("staged_image_invalid");
		k_mutex_unlock(&update_lock);
		return;
	}

	ret = flash_img_init_id(&context, PMI_SLOT_ID);
	while (ret == 0 && offset < image_size) {
		size_t chunk = MIN((size_t)PMI_TRANSFER_CHUNK, image_size - offset);
		bool final = offset + chunk == image_size;

		ret = psram_read(PMI_IMAGE_OFFSET + offset, transfer_buffer, chunk);
		if (ret == 0) {
			ret = flash_img_buffered_write(&context, transfer_buffer, chunk, final);
		}
		if (ret == 0) {
			offset += chunk;
			k_mutex_lock(&update_lock, K_FOREVER);
			update_status.written = offset;
			update_status.percent = (uint32_t)((offset * 100U) / image_size);
			k_mutex_unlock(&update_lock);
		}
		k_yield();
	}

	if (ret == 0) {
		ret = verify_slot_crc(image_size, expected_crc);
	}
	if (ret == 0) {
		ret = boot_request_upgrade(false);
	}

	k_mutex_lock(&update_lock, K_FOREVER);
	if (ret == 0) {
		update_status.update_state = PMI_STATE_READY;
		update_status.percent = 100U;
		LOG_INF("PMI image ready in MCUboot slot 1 (%u bytes)", image_size);
	} else {
		set_error("slot_update_failed");
		LOG_ERR("PMI image update failed (%d)", ret);
	}
	k_mutex_unlock(&update_lock);
}

static void update_thread(void)
{
	while (true) {
		k_sem_take(&update_request, K_FOREVER);
		perform_update();
	}
}

K_THREAD_DEFINE(pmi_update_thread, 4096, update_thread, NULL, NULL, NULL,
		K_PRIO_PREEMPT(5), 0, SYS_FOREVER_MS);

static void set_json_response(struct http_response_ctx *response,
			      enum http_status status, const char *body, size_t length)
{
	response->status = status;
	response->body = body;
	response->body_len = length;
	response->final_chunk = true;
}

static size_t format_image_response(void)
{
	int length = snprintf(image_response, sizeof(image_response),
		"{\"status\":\"%s\",\"size\":%u,\"percent\":%u,"
		"\"crc32\":\"0x%08" PRIX32 "\",\"error\":\"%s\"}\n",
		state_name(update_status.upload_state), update_status.image_size,
		update_status.upload_state == PMI_STATE_READY ? 100U : 0U,
		update_status.upload_crc, update_status.error);

	return length < 0 ? 0U : MIN((size_t)length, sizeof(image_response) - 1U);
}

static size_t format_update_response(void)
{
	int length = snprintf(update_response, sizeof(update_response),
		"{\"status\":\"%s\",\"size\":%u,\"written\":%u,"
		"\"percent\":%u,\"reboot_required\":%s,\"error\":\"%s\"}\n",
		state_name(update_status.update_state), update_status.image_size,
		update_status.written, update_status.percent,
		update_status.update_state == PMI_STATE_READY ? "true" : "false",
		update_status.error);

	return length < 0 ? 0U : MIN((size_t)length, sizeof(update_response) - 1U);
}

static int image_handler(struct http_client_ctx *client,
			 enum http_data_status data_status,
			 const struct http_request_ctx *request,
			 struct http_response_ctx *response, void *user_data)
{
	int ret = 0;

	ARG_UNUSED(client);
	ARG_UNUSED(user_data);

	k_mutex_lock(&update_lock, K_FOREVER);
	if (data_status == HTTP_SERVER_DATA_ABORTED) {
		update_status.upload_state = PMI_STATE_ERROR;
		strcpy(update_status.error, "upload_aborted");
		k_mutex_unlock(&update_lock);
		return 0;
	}
	if (update_is_busy()) {
		size_t length = format_image_response();

		set_json_response(response, HTTP_409_CONFLICT, image_response, length);
		k_mutex_unlock(&update_lock);
		return 0;
	}
	if (update_status.upload_state != PMI_STATE_UPLOADING) {
		update_status.upload_state = PMI_STATE_UPLOADING;
		update_status.update_state = PMI_STATE_IDLE;
		update_status.image_size = 0U;
		update_status.written = 0U;
		update_status.percent = 0U;
		update_status.upload_crc = 0U;
		update_status.error[0] = '\0';
	}

	if (update_status.image_size > PMI_MAX_IMAGE_SIZE ||
	    request->data_len > PMI_MAX_IMAGE_SIZE - update_status.image_size ||
	    update_status.image_size > psram_get_size() ||
	    request->data_len > psram_get_size() - update_status.image_size) {
		update_status.upload_state = PMI_STATE_ERROR;
		strcpy(update_status.error, "image_too_large");
		ret = -EFBIG;
	} else if (request->data_len > 0U) {
		ret = psram_write(PMI_IMAGE_OFFSET + update_status.image_size,
				  request->data, request->data_len);
		if (ret == 0) {
			update_status.upload_crc = crc32_ieee_update(
				update_status.upload_crc, request->data, request->data_len);
			update_status.image_size += request->data_len;
		} else {
			update_status.upload_state = PMI_STATE_ERROR;
			strcpy(update_status.error, "psram_write_failed");
		}
	}

	if (data_status == HTTP_SERVER_DATA_FINAL) {
		if (ret == 0 && update_status.image_size > 0U) {
			ret = verify_staged_image();
			if (ret == 0) {
				update_status.upload_state = PMI_STATE_READY;
			} else {
				update_status.upload_state = PMI_STATE_ERROR;
				strcpy(update_status.error, "invalid_mcuboot_image");
			}
		} else if (update_status.image_size == 0U) {
			update_status.upload_state = PMI_STATE_ERROR;
			strcpy(update_status.error, "empty_image");
		}

		set_json_response(response,
			update_status.upload_state == PMI_STATE_READY ? HTTP_200_OK :
			HTTP_400_BAD_REQUEST,
			image_response, format_image_response());
	}
	k_mutex_unlock(&update_lock);

	return 0;
}

static int update_handler(struct http_client_ctx *client,
			  enum http_data_status data_status,
			  const struct http_request_ctx *request,
			  struct http_response_ctx *response, void *user_data)
{
	enum http_status response_status = HTTP_200_OK;

	ARG_UNUSED(client);
	ARG_UNUSED(user_data);

	if (data_status == HTTP_SERVER_DATA_ABORTED) {
		action_length = 0U;
		return 0;
	}
	if (request->data_len > sizeof(action_buffer) - 1U - action_length) {
		static const char too_large[] =
			"{\"status\":\"error\",\"error\":\"request_too_large\"}\n";

		action_length = 0U;
		set_json_response(response, HTTP_413_PAYLOAD_TOO_LARGE,
				  too_large, sizeof(too_large) - 1U);
		return 0;
	}
	memcpy(action_buffer + action_length, request->data, request->data_len);
	action_length += request->data_len;

	if (data_status != HTTP_SERVER_DATA_FINAL) {
		return 0;
	}
	action_buffer[action_length] = '\0';

	k_mutex_lock(&update_lock, K_FOREVER);
	if (action_length > 0U) {
		if (strcmp(action_buffer, "action=update") != 0) {
			set_error("invalid_action");
			response_status = HTTP_400_BAD_REQUEST;
		} else if (update_is_busy()) {
			response_status = HTTP_409_CONFLICT;
		} else if (update_status.upload_state != PMI_STATE_READY) {
			set_error("no_image");
			response_status = HTTP_409_CONFLICT;
		} else {
			update_status.update_state = PMI_STATE_QUEUED;
			update_status.written = 0U;
			update_status.percent = 0U;
			update_status.error[0] = '\0';
			k_sem_give(&update_request);
		}
	}
	action_length = 0U;
	set_json_response(response, response_status, update_response,
			  format_update_response());
	k_mutex_unlock(&update_lock);

	return 0;
}

static struct http_resource_detail_dynamic image_resource_detail = {
	.common = {
		.type = HTTP_RESOURCE_TYPE_DYNAMIC,
		.bitmask_of_supported_http_methods = BIT(HTTP_POST),
		.content_type = "application/json",
	},
	.cb = image_handler,
};

HTTP_RESOURCE_DEFINE(pmi_image_resource, edison_http_service, "/pmi/image",
		     &image_resource_detail);

static struct http_resource_detail_dynamic update_resource_detail = {
	.common = {
		.type = HTTP_RESOURCE_TYPE_DYNAMIC,
		.bitmask_of_supported_http_methods = BIT(HTTP_GET) | BIT(HTTP_POST),
		.content_type = "application/json",
	},
	.cb = update_handler,
};

HTTP_RESOURCE_DEFINE(pmi_update_resource, edison_http_service, "/pmi/update",
		     &update_resource_detail);

int pmi_update_service_init(void)
{
	int ret;

	k_mutex_init(&update_lock);
	k_sem_init(&update_request, 0, 1);
	k_thread_start(pmi_update_thread);
	update_status.upload_state = PMI_STATE_IDLE;
	update_status.update_state = PMI_STATE_IDLE;

	if (!psram_is_ready()) {
		set_error("psram_not_ready");
		return -ENODEV;
	}

	if (!boot_is_img_confirmed()) {
		ret = boot_write_img_confirmed();
		if (ret != 0) {
			LOG_WRN("Could not confirm the running MCUboot image (%d)", ret);
		}
	}

	LOG_INF("PMI Ethernet update staging ready (%u-byte slot)", PMI_SLOT_SIZE);
	return 0;
}
```

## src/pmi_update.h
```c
/* SPDX-License-Identifier: Apache-2.0 */

#ifndef EDISON_PMI_UPDATE_H_
#define EDISON_PMI_UPDATE_H_

/** Initialize the Ethernet firmware-update service. */
int pmi_update_service_init(void);

#endif /* EDISON_PMI_UPDATE_H_ */
```

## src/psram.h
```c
/* SPDX-License-Identifier: Apache-2.0 */

#ifndef EDISON_PSRAM_H_
#define EDISON_PSRAM_H_

#include <stdbool.h>
#include <stddef.h>
#include <stdint.h>

void psram_service_init(void);

/** Return true after the PSRAM controller and device have initialized. */
bool psram_is_ready(void);

/** Return the usable PSRAM capacity in bytes. */
size_t psram_get_size(void);

/** Read from PSRAM using a byte offset from the beginning of the device. */
int psram_read(uint32_t offset, void *data, size_t length);

/** Write to PSRAM using a byte offset from the beginning of the device. */
int psram_write(uint32_t offset, const void *data, size_t length);

#endif /* EDISON_PSRAM_H_ */
```
